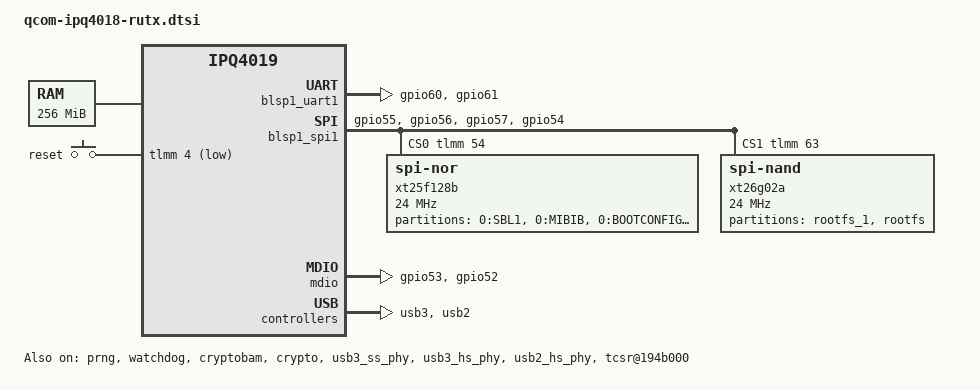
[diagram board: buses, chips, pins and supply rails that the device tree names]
// SPDX-License-Identifier: GPL-2.0-or-later OR MIT

#include "qcom-ipq4019.dtsi"

#include <dt-bindings/gpio/gpio.h>
#include <dt-bindings/input/input.h>
#include <dt-bindings/soc/qcom,tcsr.h>

/ {
	memory {
		device_type = "memory";
		reg = <0x80000000 0x10000000>;
	};

	aliases {
		serial0 = &blsp1_uart1;
	};

	chosen {
		stdout-path = "serial0:115200n8";
	};

	soc {
		tcsr@1949000 {
			compatible = "qcom,tcsr";
			reg = <0x1949000 0x100>;
			qcom,wifi_glb_cfg = <TCSR_WIFI_GLB_CFG>;
		};

		tcsr@194b000 {
			status = "okay";

			compatible = "qcom,tcsr";
			reg = <0x194b000 0x100>;
			qcom,usb-hsphy-mode-select = <TCSR_USB_HSPHY_HOST_MODE>;
		};

		ess_tcsr@1953000 {
			compatible = "qcom,tcsr";
			reg = <0x1953000 0x1000>;
			qcom,ess-interface-select = <TCSR_ESS_PSGMII>;
		};

		tcsr@1957000 {
			compatible = "qcom,tcsr";
			reg = <0x1957000 0x100>;
			qcom,wifi_noc_memtype_m0_m2 = <TCSR_WIFI_NOC_MEMTYPE_M0_M2>;
		};

		keys {
			compatible = "gpio-keys";

			reset {
				label = "reset";
				gpios = <&tlmm 4 1>;
				linux,code = <KEY_RESTART>;
			};
		};
	};
};

&prng {
	status = "okay";
};

&watchdog {
	status = "okay";
};

&cryptobam {
	status = "okay";
};

&crypto {
	status = "okay";
};

&tlmm {
	serial_pins: serial_pinmux {
		mux {
			pins = "gpio60", "gpio61";
			function = "blsp_uart0";
			bias-disable;
		};
	};

	spi_0_pins: spi_0_pinmux {
		pinmux {
			function = "blsp_spi0";
			pins = "gpio55", "gpio56", "gpio57";
		};
		pinmux_cs {
			function = "gpio";
			pins = "gpio54";
		};
		pinconf {
			pins = "gpio55", "gpio56", "gpio57";
			drive-strength = <12>;
			bias-disable;
		};
		pinconf_cs {
			pins = "gpio54";
			drive-strength = <2>;
			bias-disable;
			output-high;
		};
	};

	mdio_pins: mdio_pinmux {
		mux_1 {
			pins = "gpio53";
			function = "mdio";
			bias-pull-up;
		};
		mux_2 {
			pins = "gpio52";
			function = "mdc";
			bias-pull-up;
		};
	};

	i2c_0_pins: i2c_0_pinmux {
		mux {
			pins = "gpio58", "gpio59";
			function = "blsp_i2c0";
			bias-disable;
		};
	};
};

&blsp_dma {
	status = "okay";
};

&blsp1_uart1 {
	pinctrl-0 = <&serial_pins>;
	pinctrl-names = "default";
	status = "okay";
};

&blsp1_spi1 {
	pinctrl-0 = <&spi_0_pins>;
	pinctrl-names = "default";
	cs-gpios = <&tlmm 54 0>, <&tlmm 63 0>;
	num-cs = <2>;
	status = "okay";

	xt25f128b@0 {
		/*
		 * Factory U-boot looks in 0:BOOTCONFIG partition for active
		 * partitions settings and mangles the partition config so
		 * 0:QSEE/0:QSEE_1, 0:CDT/0:CDT_1 and  0:APPSBL/0:APPSBL_1 pairs
		 * can be swaped. It isn't a problem but we never can be sure where
		 * OFW put factory images. "n25q128a11" is required for proper nor
		 * recognition in u-boot.
		 */
		compatible = "jedec,spi-nor", "n25q128a11";
		#address-cells = <1>;
		#size-cells = <1>;
		reg = <0>;
		spi-max-frequency = <24000000>;

		partitions {
			compatible = "fixed-partitions";
			#address-cells = <1>;
			#size-cells = <1>;

			partition@0 {
				label = "0:SBL1";
				reg = <0x0 0x40000>;
				read-only;
			};

			partition@40000 {
				label = "0:MIBIB";
				reg = <0x40000 0x20000>;
				read-only;
			};

			partition@60000 {
				label = "0:BOOTCONFIG";
				reg = <0x60000 0x20000>;
				read-only;
			};

			partition@80000 {
				label = "0:BOOTCONFIG1";
				reg = <0x80000 0x20000>;
				read-only;
			};

			partition@a0000 {
				label = "0:QSEE";
				reg = <0xa0000 0x60000>;
				read-only;
			};

			partition@100000 {
				label = "0:QSEE_1";
				reg = <0x100000 0x60000>;
				read-only;
			};

			partition@160000 {
				label = "0:CDT";
				reg = <0x160000 0x10000>;
				read-only;
			};

			partition@170000 {
				label = "0:CDT_1";
				reg = <0x170000 0x10000>;
				read-only;
			};

			partition@180000 {
				label = "0:DDRPARAMS";
				reg = <0x180000 0x10000>;
				read-only;
			};

			partition@190000 {
				label = "0:APPSBLENV";
				reg = <0x190000 0x10000>;
				read-only;
			};

			partition@1a0000 {
				label = "0:APPSBL";
				reg = <0x1a0000 0xa0000>;
				read-only;
			};

			partition@240000 {
				label = "0:APPSBL_1";
				reg = <0x240000 0xa0000>;
				read-only;
			};

			partition@2e0000 {
				label = "0:ART";
				reg = <0x2e0000 0x10000>;
				read-only;
			};

			config: partition@2f0000 {
				label = "0:CONFIG";
				reg = <0x2f0000 0x10000>;
				read-only;
			};

			partition@300000 {
				label = "0:CONFIG_RW";
				reg = <0x300000 0x10000>;
				read-only;
			};

			partition@310000 {
				label = "0:EVENTSLOG";
				reg = <0x310000 0x90000>;
				read-only;
			};
		};
	};

	xt26g02a@1 {
		/*
		 * Factory U-boot looks in 0:BOOTCONFIG partition for active
		 * partitions settings and mangles the partition config so
		 * rootfs/rootfs_1 pairs can be swaped.
		 * It isn't a problem but we never can be sure where OFW put
		 * factory images. "spinand,mt29f" value is required for proper
		 * nand recognition in u-boot.
		 */
		compatible = "spi-nand", "spinand,mt29f";
		#address-cells = <1>;
		#size-cells = <1>;
		reg = <1>;
		spi-max-frequency = <24000000>;

		partitions {
			compatible = "fixed-partitions";
			#address-cells = <1>;
			#size-cells = <1>;

			partition@0 {
				label = "rootfs_1";
				reg = <0x00000000 0x08000000>;
			};

			partition@8000000 {
				label = "rootfs";
				reg = <0x08000000 0x08000000>;
			};
		};
	};
};

&mdio {
	status = "okay";
	pinctrl-0 = <&mdio_pins>;
	pinctrl-names = "default";
	phy-reset-gpio = <&tlmm 62 0>;
};

&usb3_ss_phy {
	status = "okay";
};

&usb3_hs_phy {
	status = "okay";
};

&usb3 {
	status = "okay";
};

&usb2_hs_phy {
	status = "okay";
};

&usb2 {
	status = "okay";
};
